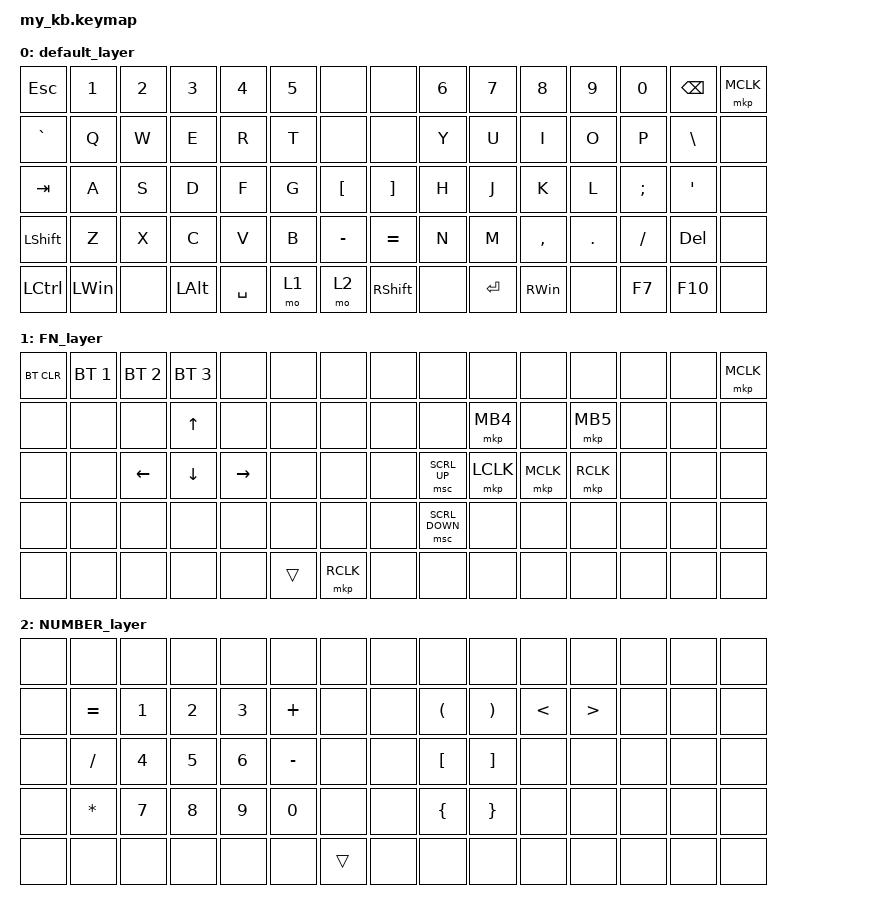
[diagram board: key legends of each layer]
#include <behaviors.dtsi>
#include <dt-bindings/zmk/keys.h>
#include <dt-bindings/zmk/bt.h>
#include <dt-bindings/zmk/mouse.h>

#define DEFAULT 0
#define FN   1
#define NUMBER   2

/ {
	keymap {
		compatible = "zmk,keymap";
		default_layer {
			bindings = <
			&kp ESC          	&kp N1                  &kp N2                  &kp N3                  &kp N4          &kp N5          &none               &none               &kp N6      &kp N7          &kp N8          &kp N9              &kp N0          &kp BSPC 			&mkp MCLK
			&kp GRAVE           &kp Q                   &kp W                   &kp E                   &kp R           &kp T           &none               &none               &kp Y       &kp U           &kp I           &kp O               &kp P           &kp BACKSLASH		&none
			&kp TAB		        &kp A                   &kp S                   &kp D                   &kp F           &kp G           &kp LEFT_BRACKET    &kp RIGHT_BRACKET   &kp H       &kp J       	&kp K           &kp L               &kp SEMICOLON   &kp SINGLE_QUOTE	&none
			&kp LEFT_SHIFT      &kp Z                   &kp X                   &kp C                   &kp V           &kp B           &kp MINUS           &kp EQUAL           &kp N       &kp M           &kp COMMA       &kp DOT             &kp SLASH       &kp DELETE			&none
			&kp LEFT_CONTROL    &kp LEFT_WIN            &none                   &kp LEFT_ALT       		&kp SPACE       &mo 1           &mo 2      			&kp RIGHT_SHIFT     &none		&kp ENTER       &kp RIGHT_WIN   &none               &kp F7          &kp F10			&none
			>;
		};
		FN_layer {
			bindings = <
			&bt BT_CLR          &bt BT_SEL 1            &bt BT_SEL 2            &bt BT_SEL 3            &none           &none           &none               &none               &none       &none           &none           &none               &none           &none           &mkp MCLK
            &none               &none                   &none                   &kp UP                  &none           &none           &none               &none               &none       &mkp MB4        &none    		&mkp MB5            &none           &none			&none
            &none               &none                   &kp LEFT                &kp DOWN                &kp RIGHT       &none           &none               &none               &msc SCRL_UP &mkp LCLK  	&mkp MCLK  		&mkp RCLK      		&none           &none			&none
            &none               &none                   &none                   &none                   &none           &none           &none               &none               &msc SCRL_DOWN &none          &none           &none               &none           &none			&none
            &none               &none                   &none                   &none                   &none           &trans          &mkp RCLK           &none           	&none       &none           &none           &none               &none           &none			&none
			>;
		};
		NUMBER_layer {
            bindings = <
            &none &none 		&none 	&none 	&none 	&none 		&none 		&none &none 	&none 		&none 	&none &none &none &none
            &none &kp EQUAL 	&kp N1 	&kp N2 	&kp N3 	&kp PLUS 	&none 		&none &kp LPAR 	&kp RPAR 	&kp LT 	&kp GT &none &none &none
            &none &kp SLASH 	&kp N4 	&kp N5 	&kp N6 	&kp MINUS 	&none 		&none &kp LBKT 	&kp RBKT 	&none 	&none &none &none &none
            &none &kp ASTERISK 	&kp N7 	&kp N8 	&kp N9 	&kp N0 		&none 		&none &kp LBRC 	&kp RBRC 	&none 	&none &none &none &none
            &none &none 		&none 	&none 	&none 	&none 		&trans 		&none &none 	&none 		&none 	&none &none &none &none
            >;
        };
	};
	
};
